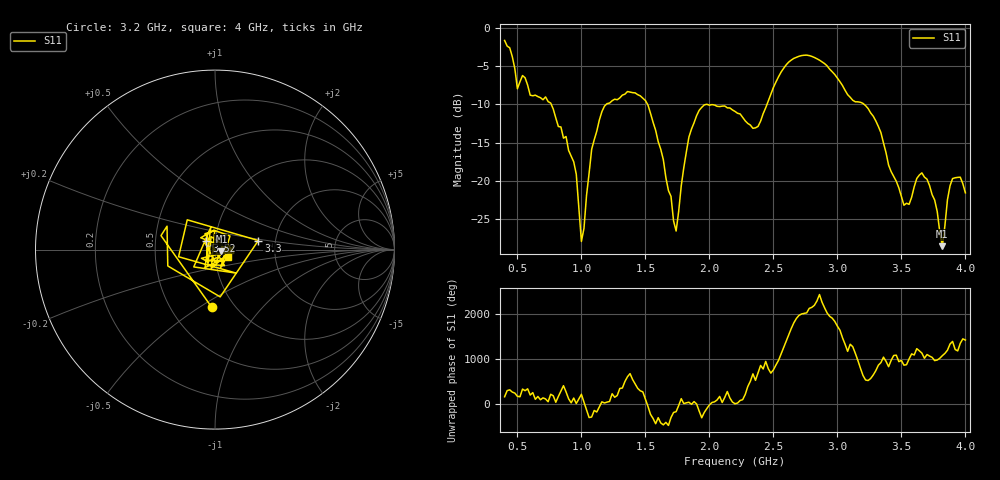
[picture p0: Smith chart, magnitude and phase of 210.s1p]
!Created with skrf (http://scikit-rf.org).
# Hz S RI R 50.0
!freq ReS11 ImS11
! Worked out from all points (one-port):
!   181 points, 400 MHz to 4 GHz, reference 50 ohm
!   lowest |S11| = -28.6 dB at 3.82 GHz (marker M1), VSWR 1.08, Z = 53.7 - j1.05 ohm
!   |S11| at or under -10 dB: 1.518 GHz to 1.974 GHz (456.2 MHz wide, 26.1 % of centre); 1.984 GHz to 2.45 GHz (466 MHz wide, 21 % of centre); 3.21 GHz to end of sweep (the widest 3 of 4)
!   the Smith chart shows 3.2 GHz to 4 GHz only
!   S11 on the Smith chart (normalised r, x): 3.2 GHz: 0.79, -0.56; 3.3 GHz: 1.63, +0.18; 3.52 GHz: 0.90, +0.09; 4 GHz: 1.15, -0.09
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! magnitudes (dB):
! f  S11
! 400 MHz  -1.6
! 500 MHz  -7.9
! 720 MHz  -9.0
! 860 MHz  -14.4
! 960 MHz  -19.2
! 1 GHz  -28.0
! 1.08 GHz  -15.9
! 1.14 GHz  -12.1
! 1.3 GHz  -9.1
! 1.52 GHz  -10.1
! 1.74 GHz  -26.6
! 1.76 GHz  -24.0
! 1.84 GHz  -14.3
! 1.92 GHz  -10.8
! 2.2 GHz  -10.9
! 2.38 GHz  -12.9
! 2.66 GHz  -4.0
! 2.9 GHz  -4.6
! 3.1 GHz  -9.1
! 3.2 GHz  -9.9
! 3.3 GHz  -12.2
! 3.52 GHz  -23.2
! 3.56 GHz  -23.1
! 3.62 GHz  -19.7
! 3.7 GHz  -19.8
! 3.82 GHz  -28.6
! 3.9 GHz  -19.7
! 4 GHz  -21.6
